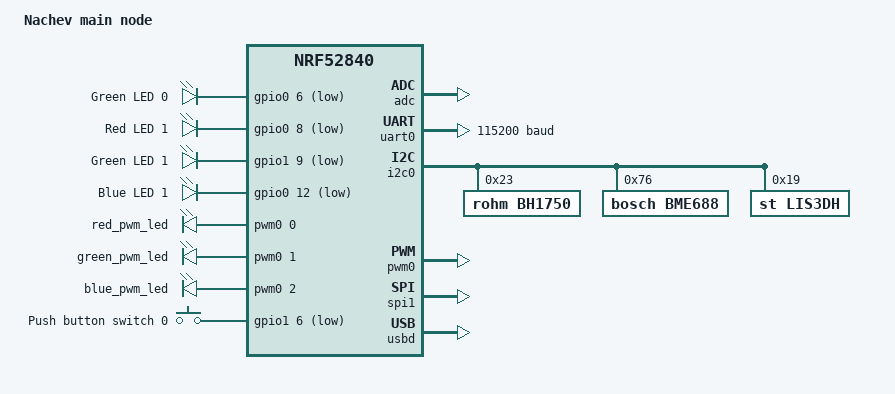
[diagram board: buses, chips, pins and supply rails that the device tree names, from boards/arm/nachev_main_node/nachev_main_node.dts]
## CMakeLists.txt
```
#
# Copyright (c) 2020 Nordic Semiconductor ASA
#
# SPDX-License-Identifier: LicenseRef-Nordic-5-Clause
#
cmake_minimum_required(VERSION 3.20.0)

find_package(Zephyr REQUIRED HINTS $ENV{ZEPHYR_BASE})

project(combined_work)

# NORDIC SDK APP START
target_sources(app PRIVATE src/main.c)
# NORDIC SDK APP END
```

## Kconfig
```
#
# Copyright (c) 2020 Nordic Semiconductor ASA
#
# SPDX-License-Identifier: LicenseRef-Nordic-5-Clause
#

menu "Zephyr Kernel"
source "Kconfig.zephyr"
endmenu

module = OT_COMMAND_LINE_INTERFACE
module-str = ot_cli
source "${ZEPHYR_BASE}/subsys/logging/Kconfig.template.log_config"

# config LOG
# 	default y

# config LOG_PRINTK
# 	default y

# config SENSOR_LOG_LEVEL
# 	default 4

# config I2C
# 	default y
```

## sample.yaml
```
sample:
  name: OpenThread Combined Program
  description: All project modules are combined in this program
tests:
  sample.openthread.cli.usb:
    build_only: true
    platform_allow: nrf52840dongle_nrf52840
    tags: ci_build
    extra_args: OVERLAY_CONFIG=overlay-usb.conf;overlay-ci.conf;overlay-multiprotocol.conf
                DTC_OVERLAY_FILE=usb.overlay
    integration_platforms:
      - nrf52840dongle_nrf52840
  sample.usb.console:
    depends_on: usb_device usb_cdc
    tags: usb
    platform_exclude: native_posix native_posix_64
    harness: console
    harness_config:
      fixture: fixture_usb_cdc
  sample.sensor.bme680:
    harness: sensor
    tags: samples sensor
    integration_platforms:
      - nrf52840dongle_nrf52840
    platform_allow: nrf52840dongle_nrf52840
```

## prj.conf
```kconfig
# Network shell
CONFIG_SHELL=y
CONFIG_OPENTHREAD_SHELL=y
CONFIG_SHELL_ARGC_MAX=26
CONFIG_SHELL_CMD_BUFF_SIZE=416

# Enable OpenThread features set
CONFIG_OPENTHREAD_NORDIC_LIBRARY_MASTER=y
CONFIG_NET_L2_OPENTHREAD=y

# Generic networking options
CONFIG_NETWORKING=y
CONFIG_ASSERT=y
CONFIG_ASSERT_NO_COND_INFO=y
CONFIG_MBEDTLS_SHA1_C=n
CONFIG_FPU=y
CONFIG_GPIO_SHELL=y

# Enable Zephyr logging
CONFIG_LOG=y

# Use printk to log messages
CONFIG_LOG_MODE_MINIMAL=y

# Log only errors/hard faults
CONFIG_LOG_MAX_LEVEL=1

CONFIG_OPENTHREAD_BORDER_ROUTER=y
CONFIG_OPENTHREAD_BACKBONE_ROUTER=y
CONFIG_OPENTHREAD_SRP_SERVER=y
CONFIG_NRF_802154_SOURCE_NRFXLIB=y
CONFIG_NRF_802154_RADIO_DRIVER=y

#Network parameter
CONFIG_OPENTHREAD_CHANNEL=11
#CONFIG_OPENTHREAD_NETWORK_NAME="OpenThread"
CONFIG_OPENTHREAD_PANID=7856
#CONFIG_OPENTHREAD_XPANID="dead00beef00cafe"
CONFIG_OPENTHREAD_NETWORKKEY="20118159fbfbbe2146c05ad8e91dcf77"
CONFIG_OPENTHREAD_NORDIC_LIBRARY_FTD=y
CONFIG_OPENTHREAD_MANUAL_START=n

#Configure Sensors
CONFIG_I2C=y
CONFIG_SENSOR=y

#Configure BH1750
CONFIG_BH1750=y
CONFIG_BH1750_MODE_CHM_2=y
CONFIG_CBPRINTF_FP_SUPPORT=y

#Configure BME688
CONFIG_BME688=y

#Configure ADC
CONFIG_ADC=y


#Configure GPIO
CONFIG_GPIO=y
```

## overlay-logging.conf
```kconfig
#
# Copyright (c) 2021 Nordic Semiconductor
#
# SPDX-License-Identifier: LicenseRef-Nordic-5-Clause

# Use separate thread for logging
CONFIG_LOG_MODE_DEFERRED=y

# Increase max log level to informative
CONFIG_LOG_MAX_LEVEL=4

# Option for configuring log level in this sample
CONFIG_OT_COMMAND_LINE_INTERFACE_LOG_LEVEL_INF=y

# Enable net module logging
# CONFIG_NET_LOG=y
# Option for configuring log level in net config library
# CONFIG_NET_CONFIG_LOG_LEVEL_INF=y

# Option for configuring log level in Zephyr L2 logging
# CONFIG_OPENTHREAD_L2_DEBUG=y
# CONFIG_OPENTHREAD_L2_LOG_LEVEL_DBG=y
# CONFIG_OPENTHREAD_L2_DEBUG_DUMP_15_4=y
# CONFIG_OPENTHREAD_L2_DEBUG_DUMP_IPV6=y

# Enable OpenThread logging
CONFIG_OPENTHREAD_DEBUG=y
# Option for configuring log level in OpenThread
CONFIG_OPENTHREAD_LOG_LEVEL_INFO=y
```

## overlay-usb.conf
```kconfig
CONFIG_SHELL_BACKEND_SERIAL_INIT_PRIORITY=51

CONFIG_UART_LINE_CTRL=y
CONFIG_SHELL_BACKEND_SERIAL_CHECK_DTR=y
CONFIG_USB_CDC_ACM_LOG_LEVEL_OFF=y

CONFIG_USB_DEVICE_STACK=y
CONFIG_USB_DEVICE_REMOTE_WAKEUP=n
CONFIG_USB_DEVICE_MANUFACTURER="Nordic Semiconductor ASA"
CONFIG_USB_DEVICE_PRODUCT="Thread CLI"
CONFIG_USB_DEVICE_VID=0x1915
CONFIG_USB_DEVICE_PID=0x0000
```

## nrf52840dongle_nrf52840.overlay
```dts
&i2c0 {
	// bh1750@23 {
	// 	compatible = "rohm,bh1750";
	// 	reg = <0x23>;
	// 	status = "okay";
	// 	label = "BH1750";
	// };
	bme680_sensor: bme680@76 {
		compatible = "bosch,bme680";
		reg = <0x76>;
		status = "okay";
		label = "BME680";
	};
};

&uart0 {
	status = "okay";
	hw-flow-control;
};

/ {
	chosen {
		zephyr,entropy = &rng;
	};
};
```

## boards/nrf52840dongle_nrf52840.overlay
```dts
&i2c0 {
	bh1750: bh1750@23 {
		compatible = "rohm,bh1750";
		reg = <0x23>;
		status = "okay";
	};
};

&i2c1 {
	bme680: bme680@76 {
		compatible = "bosch,bme680";
		reg = <0x76>;
		status = "okay";
	};
};


&uart0 {
	status = "okay";
	hw-flow-control;
};

/ {
	chosen {
		zephyr,entropy = &rng;
	};
};
```

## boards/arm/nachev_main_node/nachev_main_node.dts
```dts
/*
 * Copyright (c) 2018 Nordic Semiconductor ASA
 * Copyright (c) 2017 Linaro Limited
 *
 * SPDX-License-Identifier: Apache-2.0
 */

/dts-v1/;
#include <nordic/nrf52840_qiaa.dtsi>
#include "nachev_main_node-pinctrl.dtsi"

/ {
	model = "Nachev main node";
	compatible = "nordic-semiconductors,nachev-main-node";

	chosen {
		zephyr,console = &uart0;
		zephyr,shell-uart = &uart0;
		zephyr,uart-mcumgr = &uart0;
		zephyr,bt-mon-uart = &uart0;
		zephyr,bt-c2h-uart = &uart0;
		zephyr,sram = &sram0;
		zephyr,flash = &flash0;
		zephyr,code-partition = &slot0_partition;
	};

	leds {
		compatible = "gpio-leds";
		led0_green: led_0 {
			gpios = <&gpio0 6 GPIO_ACTIVE_LOW>;
			label = "Green LED 0";
		};
		led1_red: led_1 {
			gpios = <&gpio0 8 GPIO_ACTIVE_LOW>;
			label = "Red LED 1";
		};
		led1_green: led_2 {
			gpios = <&gpio1 9 GPIO_ACTIVE_LOW>;
			label = "Green LED 1";
		};
		led1_blue: led_3 {
			gpios = <&gpio0 12 GPIO_ACTIVE_LOW>;
			label = "Blue LED 1";
		};
	};

	pwmleds {
		compatible = "pwm-leds";
		red_pwm_led: pwm_led_0 {
			pwms = <&pwm0 0 PWM_MSEC(20) PWM_POLARITY_INVERTED>;
		};
		green_pwm_led: pwm_led_1 {
			pwms = <&pwm0 1 PWM_MSEC(20) PWM_POLARITY_INVERTED>;
		};
		blue_pwm_led: pwm_led_2 {
			pwms = <&pwm0 2 PWM_MSEC(20) PWM_POLARITY_INVERTED>;
		};
	};

	buttons {
		compatible = "gpio-keys";
		button0: button_0 {
			gpios = <&gpio1 6 (GPIO_PULL_UP | GPIO_ACTIVE_LOW)>;
			label = "Push button switch 0";
		};
	};

	/* These aliases are provided for compatibility with samples */
	aliases {
		sw0 = &button0;
		led0 = &led0_green;
		led1 = &led1_red;
		led2 = &led1_green;
		led3 = &led1_blue;
		led0-green = &led0_green;
		led1-red   = &led1_red;
		led1-green = &led1_green;
		led1-blue  = &led1_blue;
		pwm-led0 = &red_pwm_led;
		pwm-led1 = &green_pwm_led;
		pwm-led2 = &blue_pwm_led;
		red-pwm-led = &red_pwm_led;
		green-pwm-led = &green_pwm_led;
		blue-pwm-led = &blue_pwm_led;
		mcuboot-button0 = &button0;
		mcuboot-led0 = &led0_green;
		watchdog0 = &wdt0;
	};
};


&adc {
	status = "okay";
	label="ADC_0";
};

&gpiote {
	status = "okay";
};

&gpio0 {
	status = "okay";
};

&gpio1 {
	status = "okay";
};

&uart0 {
	compatible = "nordic,nrf-uarte";
	status = "okay";
	current-speed = <115200>;
	pinctrl-0 = <&uart0_default>;
	pinctrl-1 = <&uart0_sleep>;
	pinctrl-names = "default", "sleep";
};

&i2c0 {
	compatible = "nordic,nrf-twi";
	status = "okay";
	pinctrl-0 = <&i2c0_default>;
	pinctrl-1 = <&i2c0_sleep>;
	pinctrl-names = "default", "sleep";
	
	bh1750_sensor: bh1750@23 {
		compatible = "rohm,bh1750";
		reg = <0x23>;
		status = "okay";
		label = "BH1750";
	};
	bme688_sensor: bme688@76 {
		compatible = "bosch,bme688";
		reg = <0x76>;
		status = "okay";
		label = "BME688";
	};
	lis3dh_sensor: lis3dh@19 {
		compatible = "st,lis3dh";
		reg = <0x19>;
		status = "okay";
		label = "LIS3DH";
	};
};

&i2c1 {
	compatible = "nordic,nrf-twi";
	/* Cannot be used together with spi1. */
	//status = "okay";
	pinctrl-0 = <&i2c1_default>;
	pinctrl-1 = <&i2c1_sleep>;
	pinctrl-names = "default", "sleep";
};

&pwm0 {
	status = "okay";
	pinctrl-0 = <&pwm0_default>;
	pinctrl-1 = <&pwm0_sleep>;
	pinctrl-names = "default", "sleep";
};

/*
 * By default, not adding all available SPI instances (spi2, spi3) due to
 * limited GPIOs available on dongle board.
 */
&spi0 {
	compatible = "nordic,nrf-spi";
	/* Cannot be used together with i2c0. */
	/* status = "okay"; */
	pinctrl-0 = <&spi0_default>;
	pinctrl-1 = <&spi0_sleep>;
	pinctrl-names = "default", "sleep";
};

&spi1 {
	compatible = "nordic,nrf-spi";
	status = "okay";
	pinctrl-0 = <&spi1_default>;
	pinctrl-1 = <&spi1_sleep>;
	pinctrl-names = "default", "sleep";
};

/* Include flash partition table.
 * Two partition tables are available:
 * fstab-stock		-compatible with Nordic nRF5 bootloader, default
 * fstab-debugger	-to use an external debugger, w/o the nRF5 bootloader
 */
#include "fstab-stock.dts"

zephyr_udc0: &usbd {
	compatible = "nordic,nrf-usbd";
	status = "okay";
};
```

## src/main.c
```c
#include <stdio.h>
#include <zephyr.h>
#include <device.h>
#include <devicetree.h>
#include <zephyr/logging/log.h>
#include <openthread/thread.h>
#include <net/openthread.h>
#include <openthread/udp.h>
#include <zephyr/drivers/sensor.h>
#include <zephyr/drivers/adc.h>
#include <zephyr/drivers/gpio.h>


//led
static struct gpio_dt_spec led = GPIO_DT_SPEC_GET_OR(DT_ALIAS(led0), gpios,
						     {0});
static struct gpio_dt_spec power_on_led = GPIO_DT_SPEC_GET_OR(DT_ALIAS(led1_blue), gpios,
						     {0});
int power_on_val = 1;
int val = 0;
//led

//Battery
#define ADC_NODE DT_NODELABEL(adc)
static const struct device *adc_dev = DEVICE_DT_GET(ADC_NODE);

#define ADC_RESOLUTION		10
#define ADC_GAIN			ADC_GAIN_1_5
#define ADC_REFERENCE		ADC_REF_INTERNAL
#define ADC_PORT SAADC_CH_PSELP_PSELP_AnalogInput0
#define ADC_CHANNEL 0

struct adc_channel_cfg chl0_cfg = {
	.gain = ADC_GAIN,
	.reference = ADC_REFERENCE,
	.acquisition_time = ADC_ACQ_TIME_DEFAULT,
	.channel_id = ADC_CHANNEL,
#ifdef CONFIG_ADC_NRFX_SAADC
	.input_positive = ADC_PORT
#endif
};  

int16_t sample_buffer[1];
struct adc_sequence sequence = {
	.channels = BIT(ADC_CHANNEL),
	.buffer = sample_buffer,
	.buffer_size = sizeof(sample_buffer),
	.resolution = ADC_RESOLUTION
};
//Battery


LOG_MODULE_REGISTER(cli_sample, CONFIG_OT_COMMAND_LINE_INTERFACE_LOG_LEVEL);

static void udp_send(int light, int temp1, int temp2, int hum1, int hum2,
 					 int press1, int press2, int gas1, int gas2, char* moved, int bat_lvl){
	otError	error = OT_ERROR_NONE;
	char data[300];
	sprintf(data, "ID:%08X%08X Light: %dlx Temp: %d.%d°C Humidity: %d.%d%% Pressure: %d.%dhPa Gas: %d.%dΩ Moved: %s Battery: %dmV", 
				    NRF_FICR->DEVICEID[0], NRF_FICR->DEVICEID[1], light, temp1, temp2, hum1, hum2, press1, press2, gas1, gas2, moved, bat_lvl);
	otInstance *myInstance;
	myInstance = openthread_get_default_instance();
	otUdpSocket mySocket;

	otMessageInfo myInfo;

	//Making sure that the myInfo structure is empty
	memset(&myInfo, 0, sizeof(myInfo)); 

	//Set the address to which the data will be send
	otIp6AddressFromString("ff03::1", &myInfo.mPeerAddr); 

	myInfo.mPeerPort = 12346;

	// One cycle loop to enable the use of breaks
	do{ 
		error = otUdpOpen(myInstance, &mySocket, NULL, NULL);
		if (error != OT_ERROR_NONE){ break; }
		otMessage *test_Message = otUdpNewMessage(myInstance, NULL);
		error = otMessageAppend(test_Message, data, (uint16_t)strlen(data));
		if (error != OT_ERROR_NONE){ break; }
		error = otUdpSend(myInstance, &mySocket, test_Message, &myInfo);
		if (error != OT_ERROR_NONE){ break; }
		error = otUdpClose(myInstance, &mySocket);
	}while(false);
	
	if(error == OT_ERROR_NONE){
		gpio_pin_configure_dt(&led, GPIO_OUTPUT);
		val=1;
		gpio_pin_set_dt(&led, val);
		LOG_INF("Send. %s\n", data);
		k_sleep(K_MSEC(500));
		val=0;
		gpio_pin_set_dt(&led, val);
		//LOG_INF("DEVICEID0: %08X\n", NRF_FICR->DEVICEID[0]);
		//LOG_INF("DEVICEID0: %08X\n", NRF_FICR->DEVICEID[1]);
		
	}else{
		LOG_INF("udpSend error: %d\n", error);
	}
}

//lis3dh
#include <zephyr/drivers/i2c.h>
#define I2C_NODE                 DT_NODELABEL(i2c0) 
#define LIS3DH_ADDRESS         0x19
static const struct device *dev_lis3dh = DEVICE_DT_GET(I2C_NODE);
uint8_t lis_buffer[2];
#define STATUS_REG_AUX 0x07
#define OUT_ADC1_L	   0x08
#define OUT_ADC1_H	   0x09
#define OUT_ADC2_L	   0x0A
#define OUT_ADC2_H	   0x0B
#define OUT_ADC3_L	   0x0C
#define OUT_ADC3_H	   0x0D
#define WHO_AM_I       0x0F
#define CTRL_REG0      0x1E
#define TEMP_CFG_REG   0x1F
#define CTRL_REG1      0x20
#define CTRL_REG2      0x21
#define CTRL_REG3      0x22 
#define CTRL_REG4      0x23
#define CTRL_REG5      0x24
#define CTRL_REG6      0x25
#define REFERENCE      0x26
#define STATUS_REG     0x27
#define OUT_X_L        0x28
#define OUT_X_H        0x29
#define OUT_Y_L		   0x2A
#define OUT_Y_H 	   0x2B
#define OUT_Z_L		   0x2C
#define OUT_Z_H 	   0x2D
#define FIFO_CTRL_REG  0x2E
#define FIFO_SRC_REG   0x2F
#define INT1_CFG       0x30
#define INT1_SRC       0x31
#define INT1_THS       0x32
#define INT1_DURATION  0x33
#define INT2_CFG 	   0x34
#define INT2_SRC       0X35
#define INT2_THS       0x36
#define INT2_DURATION  0x37
#define CLICK_CFG      0x38
#define CLICK_SRC      0x39
#define CLICK_THS      0x3A
#define TIME_LIMIT     0x3B
#define TIME_LATENCY   0x3C
#define TIME_WINDOW    0x3D
#define ACT_THS        0x3E
#define ACT_DUR        0x3F


	

uint8_t read_LIS3DH(){
  i2c_read(dev_lis3dh, lis_buffer, 1, LIS3DH_ADDRESS);
  return lis_buffer[0];
}


void write_LIS3DH(uint8_t val){
  lis_buffer[0] = val;
  i2c_write(dev_lis3dh, lis_buffer, 1, LIS3DH_ADDRESS);
}

void write_internal_LIS3DH(uint8_t reg, uint8_t val){
	i2c_reg_write_byte(dev_lis3dh, LIS3DH_ADDRESS, reg, val);
}

uint8_t read_internal_LIS3DH(uint8_t reg){
	i2c_reg_read_byte(dev_lis3dh, LIS3DH_ADDRESS, reg, lis_buffer);
	return lis_buffer[0];
}

uint8_t intsrc;
int8_t xl,yl,zl,xh,yh,zh,stat;
void config_LIS3DH(void){
	write_internal_LIS3DH(CTRL_REG1, 0x57);
	write_internal_LIS3DH(CTRL_REG2, 0x09);
	write_internal_LIS3DH(CTRL_REG3, 0x40); //0x10 ZYXDA interrupt on INT1.
	write_internal_LIS3DH(CTRL_REG4, 0x00);
	write_internal_LIS3DH(CTRL_REG5, 0x08); // 0x04 4D enable: 4D detection is enabled on INT1 when 6D bit on INT1_CFG is set to 1
	write_internal_LIS3DH(REFERENCE, 0x05); //Reference value for Interrupt generation. Default value: 0000 0000
	write_internal_LIS3DH(INT1_CFG, 0x2A);
	write_internal_LIS3DH(INT1_THS, 0x10);
	write_internal_LIS3DH(INT1_DURATION, 0x03);
}

int16_t x;
int16_t y;
int16_t z;
char moved[4];

void read_LIS3DH_data(void){
	intsrc = read_internal_LIS3DH(INT1_SRC);
	xl = read_internal_LIS3DH(OUT_X_L);
	xh = read_internal_LIS3DH(OUT_X_H);
	yl = read_internal_LIS3DH(OUT_Y_L);
	yh = read_internal_LIS3DH(OUT_Y_H);
	zl = read_internal_LIS3DH(OUT_Z_L);
	zh = read_internal_LIS3DH(OUT_Z_H);
	stat = read_internal_LIS3DH(WHO_AM_I);

	x = xh;
	x <<= 8;
	x |= xl;
	x>>=6;

	y = yh;
	y <<= 8;
	y |= yl;
	y>>=6;

	z = zh;
	z <<= 8;
	z |= zl;
	z>>=6;

	intsrc >>= 6;
	if(intsrc == 1) memcpy(moved, "yes", strlen("yes"));
	else memcpy(moved, "no", strlen("no")+1);
	LOG_INF("X: %d Y: %d, Z: %d INFO: %d Moved: %s", x,y,z,stat,moved);
}
 //lis3dh

void main(void)
{
	gpio_pin_configure_dt(&power_on_led, GPIO_OUTPUT);
	gpio_pin_set_dt(&power_on_led, power_on_val);
	int ret;
	const struct device *dev;
	int adc = adc_channel_setup(adc_dev, &chl0_cfg);

	otInstance *myInstance;
	myInstance = openthread_get_default_instance();
	otPlatRadioSetTransmitPower(myInstance, 8); //Increase the transmit power to 8dBm

	ret = usb_enable(NULL);
	if (ret != 0) {
		LOG_ERR("Failed to enable USB");
		return;
	}

	dev = DEVICE_DT_GET(DT_CHOSEN(zephyr_shell_uart)); //Initialize the Zephyr Shell
	if (dev == NULL) {
		LOG_ERR("Failed to find specific UART device");
		return;
	}
	LOG_INF("Waiting for host to be ready to communicate");

	// Start the BH1750 sensor 
	powerOn();
    setMeasuringTime(); 

	// Initialize the BME688 sensor
	const struct device *const dev_bme = DEVICE_DT_GET(DT_NODELABEL(bme688_sensor));

	struct sensor_value temp, press, humidity, gas_res;


	config_LIS3DH();
	while(1){
		// Get values from the BME688 sensor
		sensor_sample_fetch(dev_bme);
		sensor_channel_get(dev_bme, SENSOR_CHAN_AMBIENT_TEMP, &temp);
		sensor_channel_get(dev_bme, SENSOR_CHAN_PRESS, &press);
		sensor_channel_get(dev_bme, SENSOR_CHAN_HUMIDITY, &humidity);
		sensor_channel_get(dev_bme, SENSOR_CHAN_GAS_RES, &gas_res);
		temp.val2 = temp.val2/10000;
		humidity.val2 = humidity.val2/10000;
		press.val2 = press.val2/1000;
		adc = adc_read(adc_dev, &sequence);
		//LOG_INF("ADC: %d\n", sample_buffer[0]);
		int32_t mv_value = sample_buffer[0];
		int32_t adc_vref = adc_ref_internal(adc_dev);
		adc_raw_to_millivolts(adc_vref, ADC_GAIN, ADC_RESOLUTION, &mv_value);
		read_LIS3DH_data();
		udp_send(getLux(), temp.val1, temp.val2, humidity.val1, humidity.val2,
				 press.val1, press.val2, gas_res.val1, gas_res.val2, moved, mv_value);
		k_sleep(K_MSEC(3000));
	}
}
```
